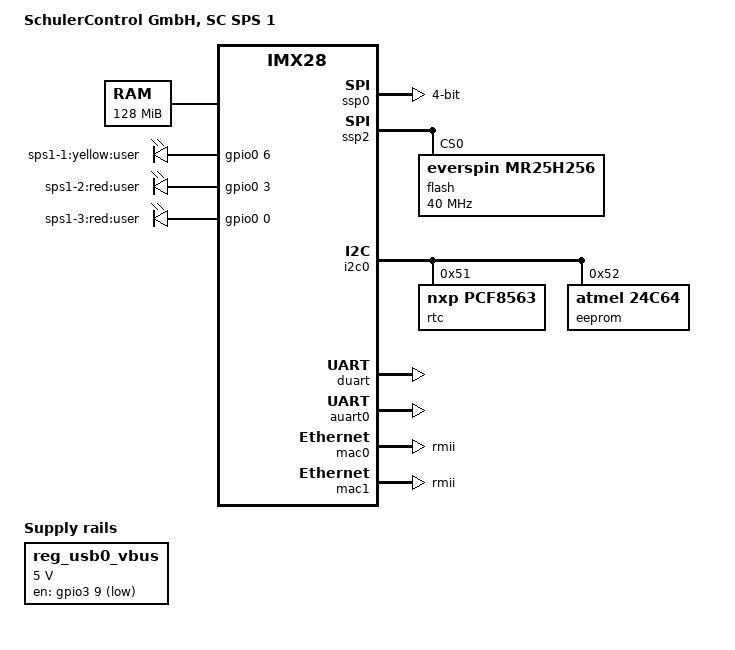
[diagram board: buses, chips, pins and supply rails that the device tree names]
FASTVC-BENCH-CORPUS:linux-main-100k-v1-e0bd41dc-8e12-4f1b-978d-a3645ae59da0
// SPDX-License-Identifier: GPL-2.0-or-later
/*
 * Copyright (C) 2012 Marek Vasut <marex@denx.de>
 */

/dts-v1/;
#include "imx28.dtsi"

/ {
	model = "SchulerControl GmbH, SC SPS 1";
	compatible = "schulercontrol,imx28-sps1", "fsl,imx28";

	memory@40000000 {
		device_type = "memory";
		reg = <0x40000000 0x08000000>;
	};

	apb@80000000 {
		apbh@80000000 {
			pinctrl@80018000 {
				pinctrl-names = "default";
				pinctrl-0 = <&hog_pins_a>;

				hog_pins_a: hog-gpios@0 {
					reg = <0>;
					fsl,pinmux-ids = <
						MX28_PAD_GPMI_D00__GPIO_0_0
						MX28_PAD_GPMI_D03__GPIO_0_3
						MX28_PAD_GPMI_D06__GPIO_0_6
					>;
					fsl,drive-strength = <MXS_DRIVE_4mA>;
					fsl,voltage = <MXS_VOLTAGE_HIGH>;
					fsl,pull-up = <MXS_PULL_DISABLE>;
				};

			};

			ssp0: spi@80010000 {
				compatible = "fsl,imx28-mmc";
				pinctrl-names = "default";
				pinctrl-0 = <&mmc0_4bit_pins_a>;
				bus-width = <4>;
				status = "okay";
			};

			ssp2: spi@80014000 {
				#address-cells = <1>;
				#size-cells = <0>;
				compatible = "fsl,imx28-spi";
				pinctrl-names = "default";
				pinctrl-0 = <&spi2_pins_a>;
				status = "okay";

				flash: m25p80@0 {
					#address-cells = <1>;
					#size-cells = <1>;
					compatible = "everspin,mr25h256", "mr25h256";
					spi-max-frequency = <40000000>;
					reg = <0>;
				};
			};
		};

		apbx@80040000 {
			i2c0: i2c@80058000 {
				pinctrl-names = "default";
				pinctrl-0 = <&i2c0_pins_a>;
				status = "okay";

				rtc: rtc@51 {
					compatible = "nxp,pcf8563";
					reg = <0x51>;
				};

				eeprom: eeprom@52 {
					compatible = "atmel,24c64";
					reg = <0x52>;
					pagesize = <32>;
				};
			};

			duart: serial@80074000 {
				pinctrl-names = "default";
				pinctrl-0 = <&duart_pins_a>;
				status = "okay";
			};

			usbphy0: usbphy@8007c000 {
				status = "okay";
			};

			auart0: serial@8006a000 {
				pinctrl-names = "default";
				pinctrl-0 = <&auart0_pins_a>;
				status = "okay";
			};
		};
	};

	ahb@80080000 {
		usb0: usb@80080000 {
			vbus-supply = <&reg_usb0_vbus>;
			pinctrl-names = "default";
			pinctrl-0 = <&usb0_pins_b>;
/* bench 1559.2.0 cf27bc6c6d08 */
/* bench 1559.2.1 f7b0cb2e8e4a */
/* bench 1559.2.2 bc6832bca14a */
/* bench 1559.2.3 7872adfa919d */
/* bench 1559.2.4 f0d53a634cba */
/* bench 1559.2.5 dab6a397e71d */
/* bench 1559.2.6 27a7adb5b77e */
/* bench 1559.2.7 f53c2478f8a4 */
/* bench 1559.2.8 fdeac9797acb */
		mac0: ethernet@800f0000 {
			phy-mode = "rmii";
			pinctrl-names = "default";
			pinctrl-0 = <&mac0_pins_a>;
			status = "okay";
		};

		mac1: ethernet@800f4000 {
			phy-mode = "rmii";
			pinctrl-names = "default";
			pinctrl-0 = <&mac1_pins_a>;
			status = "okay";
		};
/* bench 9976.1.0 2c87dc99d195 */
	};

	regulators {
		compatible = "simple-bus";
		#address-cells = <1>;
		#size-cells = <0>;

		reg_usb0_vbus: regulator@0 {
			compatible = "regulator-fixed";
			reg = <0>;
			regulator-name = "usb0_vbus";
			regulator-min-microvolt = <5000000>;
			regulator-max-microvolt = <5000000>;
			gpio = <&gpio3 9 0>;
		};
	};

	leds {
		#address-cells = <1>;
		#size-cells = <0>;
		compatible = "gpio-leds";
		status = "okay";

		led@1 {
			label = "sps1-1:yellow:user";
			gpios = <&gpio0 6 0>;
			linux,default-trigger = "heartbeat";
			reg = <0>;
		};

		led@2 {
			label = "sps1-2:red:user";
			gpios = <&gpio0 3 0>;
			linux,default-trigger = "heartbeat";
			reg = <1>;
		};

		led@3 {
			label = "sps1-3:red:user";
			gpios = <&gpio0 0 0>;
			default-trigger = "heartbeat";
			reg = <2>;
		};

	};
};
